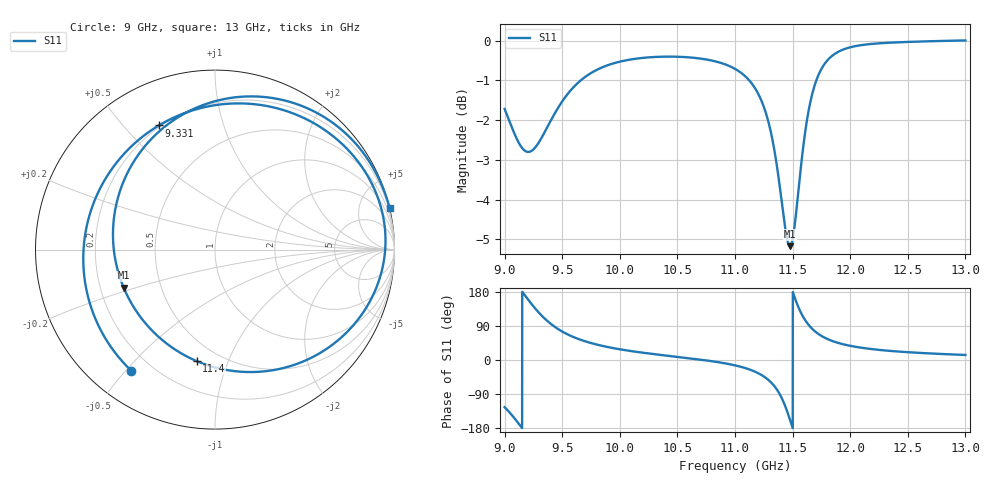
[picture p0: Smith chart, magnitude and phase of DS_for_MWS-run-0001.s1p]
! TOUCHSTONE file generated by CST DESIGN STUDIO
! Date and time: Tue Feb  4 16:26:33 2025
! Project name: C:\Work\MatlabApps\UnitCellOptimizationMatlab\CST\unitcell.cst
! Tree item: Tasks\Sweep1\SPara1\S-Parameters
! Header version: 2024
! Port assignment regex: !\s*Touchstone port\s*([0-9]+)\s*=\s*(CST MWS port|CST DES external port|CST DES block port)\s*(.+)\s* \(\"(.*)\"\)(\s*mode\s*([0-9]+))?.*
! Touchstone port assignment:
! Touchstone port 1 = CST DES external port 1 ("")
# GHz S MA R 50
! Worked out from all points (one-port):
!   4001 points, 9 GHz to 13 GHz, reference 50 ohm
!   lowest |S11| = -5.2 dB at 11.48 GHz (marker M1), VSWR 3.46, Z = 15 - j9.13 ohm
!   |S11| at or under -10 dB: nowhere
!   S11 on the Smith chart (normalised r, x): 9 GHz: 0.13, -0.52; 9.331 GHz: 0.19, +0.63; 11.4 GHz: 0.38, -0.78; 13 GHz: -0.02, +8.58
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9  0.8204 -124.6
9.091  0.7605 -155.7
9.16  0.7304 177.1
9.251  0.7299 141.3
9.331  0.7593 114.3
9.408  0.7967 93.7
9.5  0.8386 75.1
9.714  0.9033 47.9
10  0.9409 28.3
10.5  0.9544 8.3
11  0.9215 -14.1
11.141  0.885 -26.7
11.244  0.8301 -42.2
11.325  0.7505 -63.0
11.404  0.6297 -99.3
11.44  0.5757 -124.9
11.477  0.5514 -157.4
11.5  0.5627 -178.9
11.536  0.6176 150.1
11.578  0.706 121.3
11.613  0.7743 103.3
11.651  0.8331 88.4
11.719  0.9013 69.8
11.794  0.9415 56.6
11.885  0.9661 46.1
12  0.9808 37.4
12.5  0.9962 20.6
13  1 13.3
